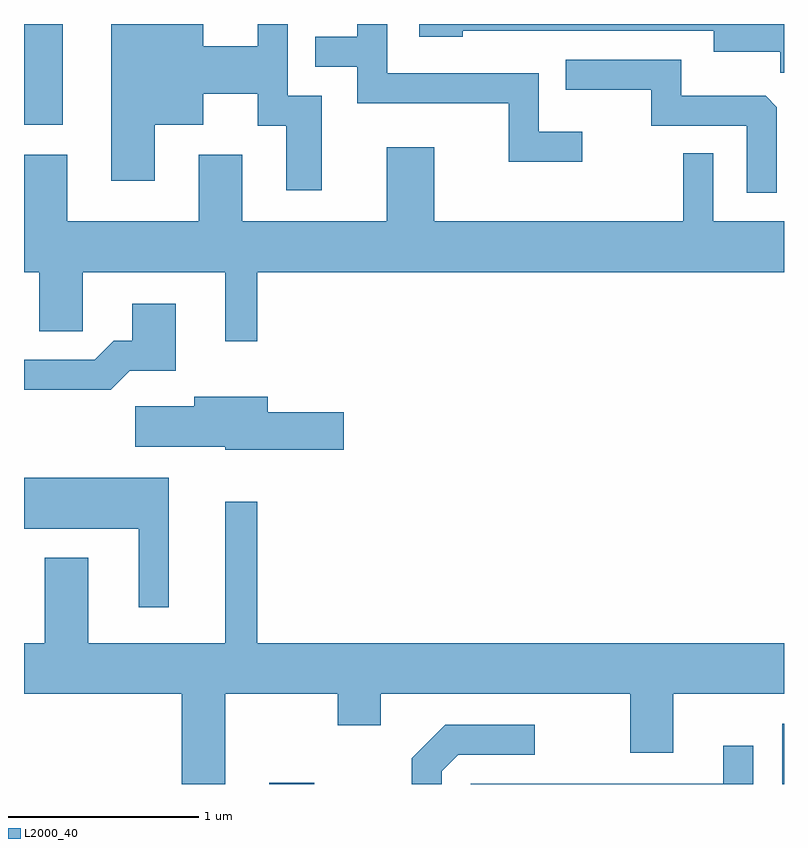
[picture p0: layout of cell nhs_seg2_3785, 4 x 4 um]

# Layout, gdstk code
import gdstk
lib = gdstk.Library(unit=1e-6, precision=1e-09)
def R(c, l, rs):  # rectangles x0, y0, x1, y1
    for r in rs: c.add(gdstk.rectangle(r[:2], r[2:], *l))
def P(c, l, *ps):  # polygons
    for p in ps: c.add(gdstk.Polygon(p, *l))
L2000_40 = (2000, 40)

nhs_seg2_3785 = lib.new_cell('nhs_seg2_3785')
R(nhs_seg2_3785, L2000_40, [(296.901,1087.802,297.138,1087.809), (299.601,1087.802,299.611,1088.119), (295.611,1091.271,295.814,1091.802)])
P(nhs_seg2_3785, L2000_40, [(299.611,1091.802),(297.691,1091.802),(297.691,1091.736),(297.919,1091.736),(297.919,1091.766),(299.241,1091.766),(299.241,1091.656),(299.591,1091.656),(299.591,1091.546),(299.611,1091.546)],
  [(298.548,1091.234),(298.319,1091.234),(298.319,1091.544),(297.524,1091.544),(297.524,1091.802),(297.366,1091.802),(297.366,1091.734),(297.143,1091.734),(297.143,1091.576),(297.366,1091.576),(297.366,1091.386),(298.161,1091.386),(298.161,1091.076),(298.548,1091.076)],
  [(297.179,1091.424),(296.999,1091.424),(296.999,1091.802),(296.841,1091.802),(296.841,1091.684),(296.554,1091.684),(296.554,1091.802),(296.071,1091.802),(296.071,1090.976),(296.299,1090.976),(296.299,1091.271),(296.554,1091.271),(296.554,1091.436),(296.841,1091.436),(296.841,1091.266),(296.991,1091.266),(296.991,1090.926),(297.179,1090.926)],
  [(299.574,1091.364),(299.514,1091.424),(299.069,1091.424),(299.069,1091.614),(298.463,1091.614),(298.463,1091.456),(298.911,1091.456),(298.911,1091.266),(299.416,1091.266),(299.416,1090.913),(299.574,1090.913)],
  [(296.839,1090.496),(299.611,1090.496),(299.611,1090.764),(299.239,1090.764),(299.239,1091.123),(299.081,1091.123),(299.081,1090.764),(297.769,1090.764),(297.769,1091.154),(297.521,1091.154),(297.521,1090.764),(296.759,1090.764),(296.759,1091.114),(296.531,1091.114),(296.531,1090.764),(295.839,1090.764),(295.839,1091.114),(295.611,1091.114),(295.611,1090.496),(295.691,1090.496),(295.691,1090.186),(295.919,1090.186),(295.919,1090.496),(296.671,1090.496),(296.671,1090.133),(296.839,1090.133)],
  [(296.167,1089.976),(296.409,1089.976),(296.409,1090.329),(296.181,1090.329),(296.181,1090.134),(296.084,1090.134),(295.984,1090.034),(295.611,1090.034),(295.611,1089.876),(296.067,1089.876)],
  [(297.294,1089.759),(296.894,1089.759),(296.894,1089.839),(296.506,1089.839),(296.506,1089.789),(296.196,1089.789),(296.196,1089.576),(296.67,1089.576),(296.67,1089.561),(297.294,1089.561)],
  [(296.374,1089.414),(295.611,1089.414),(295.611,1089.146),(296.216,1089.146),(296.216,1088.733),(296.374,1088.733)],
  [(296.669,1088.276),(297.261,1088.276),(297.261,1088.111),(297.489,1088.111),(297.489,1088.276),(298.801,1088.276),(298.801,1087.966),(299.029,1087.966),(299.029,1088.276),(299.611,1088.276),(299.611,1088.544),(296.839,1088.544),(296.839,1089.288),(296.671,1089.288),(296.671,1088.544),(295.949,1088.544),(295.949,1088.994),(295.721,1088.994),(295.721,1088.544),(295.611,1088.544),(295.611,1088.276),(296.441,1088.276),(296.441,1087.802),(296.669,1087.802)],
  [(297.809,1087.869),(297.897,1087.956),(298.298,1087.956),(298.298,1088.114),(297.829,1088.114),(297.727,1088.013),(297.651,1087.937),(297.651,1087.802),(297.809,1087.802)],
  [(299.449,1088.003),(299.291,1088.003),(299.291,1087.804),(297.961,1087.804),(297.961,1087.802),(299.449,1087.802)])

lib.write_gds('nhs_seg2_3785.gds')
